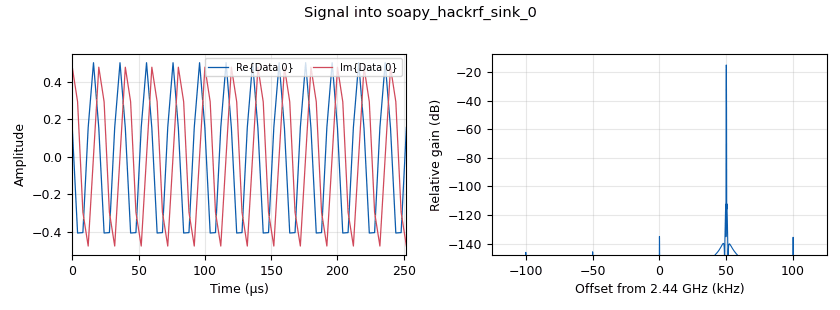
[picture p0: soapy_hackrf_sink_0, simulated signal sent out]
options:
  parameters:
    author: esp-sdr
    description: Transmits a tone at the weakest gain step; the knob sets its offset (+-100 kHz) and the frequency (2.401 to 2.482 GHz, the 2.4 GHz ISM band).
    generate_options: qt_gui
    id: tone
    output_language: python
    title: Tone
  states: {}

blocks:
- name: freq
  id: variable_qtgui_range
  parameters:
    label: Frequency
    start: 2.401e9
    step: 1e6
    stop: 2.482e9
    value: 2.44e9
  states: {}
- name: offset
  id: variable_qtgui_range
  parameters:
    label: Offset
    start: '-100e3'
    step: 1e3
    stop: 100e3
    value: 50e3
  states: {}
- name: samp_rate
  id: variable
  parameters:
    value: '250000'
  states: {}
- name: analog_sig_source_x_0
  id: analog_sig_source_x
  parameters:
    amp: '0.5'
    freq: offset
    offset: '0'
    phase: '0'
    samp_rate: samp_rate
    type: complex
    waveform: analog.GR_COS_WAVE
  states: {}
- name: soapy_hackrf_sink_0
  id: soapy_hackrf_sink
  parameters:
    center_freq: freq
    samp_rate: samp_rate
    type: fc32
    vga: '0'
  states: {}

connections:
- [analog_sig_source_x_0, '0', soapy_hackrf_sink_0, '0']

metadata:
  file_format: 1
  grc_version: 3.10.12.0
